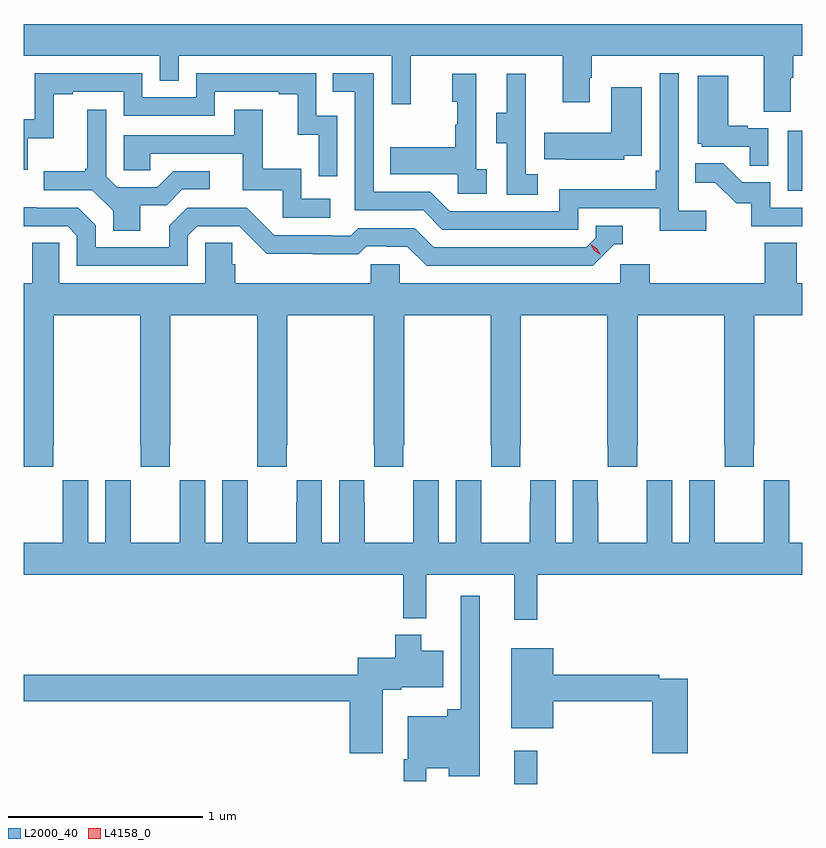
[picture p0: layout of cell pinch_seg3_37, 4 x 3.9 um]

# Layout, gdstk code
import gdstk
lib = gdstk.Library(unit=1e-6, precision=1e-09)
def R(c, l, rs):  # rectangles x0, y0, x1, y1
    for r in rs: c.add(gdstk.rectangle(r[:2], r[2:], *l))
def P(c, l, *ps):  # polygons
    for p in ps: c.add(gdstk.Polygon(p, *l))
L2000_40 = (2000, 40)
L4158_0 = (4158, 0)

pinch_seg3_37 = lib.new_cell('pinch_seg3_37')
R(pinch_seg3_37, L2000_40, [(1092.584,735.804,1092.701,735.976), (1093.988,738.852,1094.064,739.159)])
P(pinch_seg3_37, L2000_40, [(1094.005,739.432),(1094.018,739.432),(1094.018,739.544),(1094.064,739.544),(1094.064,739.708),(1090.064,739.708),(1090.064,739.544),(1090.764,739.544),(1090.764,739.417),(1090.86,739.417),(1090.86,739.544),(1091.955,739.544),(1091.955,739.296),(1092.053,739.296),(1092.053,739.544),(1092.833,739.544),(1092.833,739.305),(1092.973,739.305),(1092.973,739.433),(1092.981,739.433),(1092.981,739.544),(1093.865,739.544),(1093.865,739.258),(1094.005,739.258)],
  [(1093.57,738.748),(1093.428,738.748),(1093.428,739.456),(1093.332,739.456),(1093.332,738.955),(1093.312,738.955),(1093.312,738.859),(1092.816,738.859),(1092.816,738.747),(1092.252,738.747),(1092.153,738.846),(1091.862,738.846),(1091.862,739.455),(1091.653,739.455),(1091.653,739.359),(1091.766,739.359),(1091.766,738.75),(1092.116,738.75),(1092.215,738.651),(1092.912,738.651),(1092.912,738.762),(1093.331,738.762),(1093.331,738.646),(1093.57,738.646)],
  [(1091.676,739.236),(1091.568,739.236),(1091.568,739.455),(1090.95,739.455),(1090.95,739.332),(1090.674,739.332),(1090.674,739.455),(1090.122,739.455),(1090.122,739.219),(1090.064,739.219),(1090.064,738.96),(1090.086,738.96),(1090.086,739.121),(1090.219,739.121),(1090.219,739.347),(1090.315,739.347),(1090.315,739.359),(1090.578,739.359),(1090.578,739.236),(1091.046,739.236),(1091.046,739.359),(1091.375,739.359),(1091.375,739.347),(1091.471,739.347),(1091.471,739.139),(1091.58,739.139),(1091.58,738.927),(1091.676,738.927)],
  [(1092.706,738.935),(1092.642,738.935),(1092.642,739.239),(1092.644,739.239),(1092.644,739.453),(1092.545,739.453),(1092.545,739.251),(1092.491,739.251),(1092.491,739.096),(1092.546,739.096),(1092.546,738.832),(1092.706,738.832)],
  [(1092.442,738.962),(1092.39,738.962),(1092.39,739.453),(1092.266,739.453),(1092.266,739.308),(1092.292,739.308),(1092.292,739.19),(1092.282,739.19),(1092.282,739.075),(1091.947,739.075),(1091.947,738.935),(1092.294,738.935),(1092.294,738.837),(1092.442,738.837)],
  [(1093.89,739.173),(1093.784,739.173),(1093.784,739.186),(1093.684,739.186),(1093.684,739.441),(1093.526,739.441),(1093.526,739.092),(1093.548,739.092),(1093.548,739.077),(1093.795,739.077),(1093.795,738.979),(1093.89,738.979)],
  [(1093.149,739.031),(1093.24,739.031),(1093.24,739.384),(1093.082,739.384),(1093.082,739.15),(1092.739,739.15),(1092.739,739.013),(1092.847,739.013),(1092.847,739.01),(1093.149,739.01)],
  [(1090.663,738.778),(1090.798,738.778),(1090.878,738.858),(1091.02,738.858),(1091.02,738.951),(1090.832,738.951),(1090.751,738.87),(1090.545,738.87),(1090.488,738.927),(1090.488,739.267),(1090.391,739.267),(1090.391,738.964),(1090.38,738.964),(1090.38,738.952),(1090.167,738.952),(1090.167,738.855),(1090.416,738.855),(1090.523,738.748),(1090.523,738.646),(1090.663,738.646)],
  [(1091.638,738.81),(1091.49,738.81),(1091.49,738.964),(1091.291,738.964),(1091.291,739.267),(1091.147,739.267),(1091.147,739.137),(1090.578,739.137),(1090.578,738.957),(1090.715,738.957),(1090.715,739.041),(1091.189,739.041),(1091.189,738.855),(1091.394,738.855),(1091.394,738.714),(1091.638,738.714)],
  [(1094.064,738.765),(1093.899,738.765),(1093.899,738.894),(1093.755,738.894),(1093.657,738.992),(1093.513,738.992),(1093.513,738.893),(1093.617,738.893),(1093.724,738.786),(1093.801,738.786),(1093.801,738.669),(1094.064,738.669)],
  [(1090.908,738.621),(1090.956,738.669),(1091.172,738.669),(1091.314,738.527),(1091.55,738.527),(1091.55,738.525),(1091.783,738.525),(1091.825,738.567),(1091.928,738.567),(1091.928,738.564),(1092.035,738.564),(1092.134,738.465),(1092.987,738.465),(1093.098,738.576),(1093.141,738.576),(1093.141,738.672),(1093.002,738.672),(1093.002,738.609),(1092.954,738.561),(1092.171,738.561),(1092.072,738.66),(1091.783,738.66),(1091.744,738.621),(1091.645,738.621),(1091.645,738.624),(1091.352,738.624),(1091.211,738.765),(1090.905,738.765),(1090.811,738.671),(1090.811,738.561),(1090.434,738.561),(1090.434,738.675),(1090.344,738.765),(1090.128,738.765),(1090.128,738.767),(1090.064,738.767),(1090.064,738.669),(1090.29,738.669),(1090.338,738.621),(1090.338,738.465),(1090.908,738.465)],
  [(1091.997,738.474),(1091.847,738.474),(1091.847,738.376),(1091.15,738.376),(1091.15,738.474),(1091.135,738.474),(1091.135,738.584),(1090.998,738.584),(1090.998,738.376),(1090.248,738.376),(1090.248,738.584),(1090.109,738.584),(1090.109,738.376),(1090.064,738.376),(1090.064,737.545),(1090.065,737.545),(1090.065,737.433),(1090.215,737.433),(1090.215,737.545),(1090.218,737.545),(1090.218,738.212),(1090.663,738.212),(1090.663,737.545),(1090.665,737.545),(1090.665,737.433),(1090.815,737.433),(1090.815,737.545),(1090.818,737.545),(1090.818,738.212),(1091.263,738.212),(1091.263,737.545),(1091.265,737.545),(1091.265,737.433),(1091.415,737.433),(1091.415,737.545),(1091.418,737.545),(1091.418,738.212),(1091.863,738.212),(1091.863,737.545),(1091.865,737.545),(1091.865,737.433),(1092.015,737.433),(1092.015,737.545),(1092.018,737.545),(1092.018,738.212),(1092.463,738.212),(1092.463,737.545),(1092.465,737.545),(1092.465,737.433),(1092.615,737.433),(1092.615,737.545),(1092.618,737.545),(1092.618,738.212),(1093.063,738.212),(1093.063,737.545),(1093.065,737.545),(1093.065,737.433),(1093.215,737.433),(1093.215,737.545),(1093.218,737.545),(1093.218,738.212),(1093.663,738.212),(1093.663,737.545),(1093.665,737.545),(1093.665,737.433),(1093.815,737.433),(1093.815,737.545),(1093.818,737.545),(1093.818,738.212),(1094.064,738.212),(1094.064,738.376),(1094.036,738.376),(1094.036,738.584),(1093.871,738.584),(1093.871,738.376),(1093.28,738.376),(1093.28,738.474),(1093.128,738.474),(1093.128,738.376),(1091.997,738.376)],
  [(1092.066,737.252),(1092.065,737.252),(1092.065,737.044),(1091.815,737.044),(1091.815,737.252),(1091.814,737.252),(1091.814,737.365),(1091.684,737.365),(1091.684,737.044),(1091.596,737.044),(1091.596,737.365),(1091.466,737.365),(1091.466,737.252),(1091.465,737.252),(1091.465,737.044),(1091.215,737.044),(1091.215,737.252),(1091.214,737.252),(1091.214,737.365),(1091.084,737.365),(1091.084,737.044),(1090.996,737.044),(1090.996,737.365),(1090.866,737.365),(1090.866,737.252),(1090.865,737.252),(1090.865,737.044),(1090.615,737.044),(1090.615,737.252),(1090.614,737.252),(1090.614,737.365),(1090.484,737.365),(1090.484,737.044),(1090.396,737.044),(1090.396,737.365),(1090.266,737.365),(1090.266,737.252),(1090.265,737.252),(1090.265,737.044),(1090.064,737.044),(1090.064,736.88),(1092.013,736.88),(1092.013,736.655),(1092.131,736.655),(1092.131,736.88),(1092.584,736.88),(1092.584,736.647),(1092.701,736.647),(1092.701,736.88),(1094.064,736.88),(1094.064,737.044),(1093.996,737.044),(1093.996,737.365),(1093.866,737.365),(1093.866,737.252),(1093.865,737.252),(1093.865,737.044),(1093.615,737.044),(1093.615,737.252),(1093.614,737.252),(1093.614,737.365),(1093.484,737.365),(1093.484,737.044),(1093.396,737.044),(1093.396,737.365),(1093.266,737.365),(1093.266,737.252),(1093.265,737.252),(1093.265,737.044),(1093.015,737.044),(1093.015,737.252),(1093.014,737.252),(1093.014,737.365),(1092.884,737.365),(1092.884,737.044),(1092.796,737.044),(1092.796,737.365),(1092.666,737.365),(1092.666,737.252),(1092.665,737.252),(1092.665,737.044),(1092.415,737.044),(1092.415,737.252),(1092.414,737.252),(1092.414,737.365),(1092.284,737.365),(1092.284,737.044),(1092.196,737.044),(1092.196,737.365),(1092.066,737.365)],
  [(1092.132,735.884),(1092.248,735.884),(1092.248,735.845),(1092.406,735.845),(1092.406,736.771),(1092.309,736.771),(1092.309,736.189),(1092.241,736.189),(1092.241,736.153),(1092.036,736.153),(1092.036,735.931),(1092.016,735.931),(1092.016,735.819),(1092.132,735.819)],
  [(1091.908,736.289),(1092.004,736.289),(1092.004,736.301),(1092.22,736.301),(1092.22,736.489),(1092.106,736.489),(1092.106,736.57),(1091.972,736.57),(1091.972,736.452),(1091.78,736.452),(1091.78,736.364),(1090.064,736.364),(1090.064,736.228),(1091.738,736.228),(1091.738,735.963),(1091.908,735.963)],
  [(1093.475,736.344),(1093.328,736.344),(1093.328,736.364),(1092.784,736.364),(1092.784,736.501),(1092.569,736.501),(1092.569,736.091),(1092.784,736.091),(1092.784,736.228),(1093.292,736.228),(1093.292,735.963),(1093.475,735.963)])
P(pinch_seg3_37, L4158_0, [(1093.025,738.523),(1092.995,738.542),(1092.978,738.575),(1092.978,738.575),(1092.979,738.575),(1093.009,738.556),(1093.026,738.524),(1093.026,738.523)])

lib.write_gds('pinch_seg3_37.gds')
